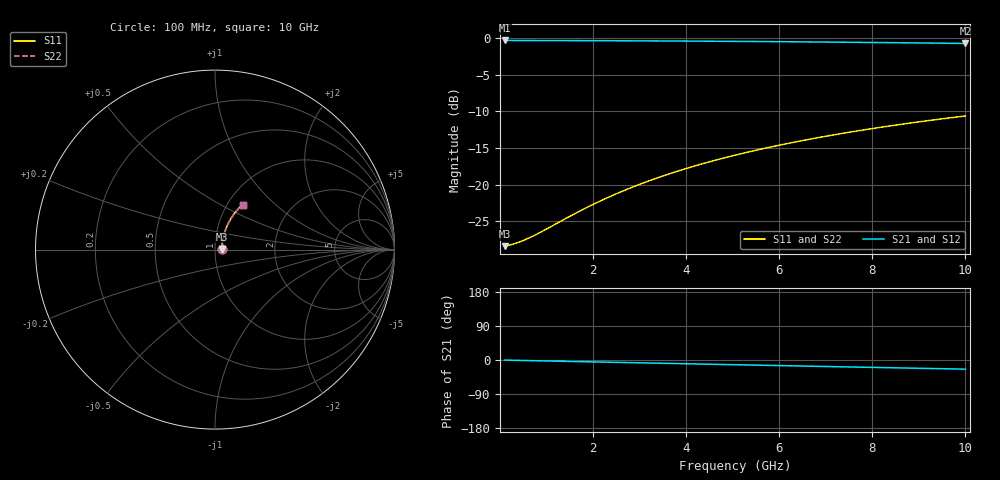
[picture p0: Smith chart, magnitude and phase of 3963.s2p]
# Hz S RI R 50.00
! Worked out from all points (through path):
!   100 points, 100 MHz to 10 GHz, reference 50 ohm
!   highest |S21| = -0.33 dB at 100 MHz (marker M1); lowest = -0.7 dB at 10 GHz (marker M2)
!   group delay of S21, straight-line fit = 6.72 ps
!   lowest |S11| = -28.4 dB at 100 MHz (marker M3), VSWR 1.08, Z = 53.9 + j0.316 ohm
!   |S11| at or under -10 dB: start of sweep to end of sweep
!   |S22| runs from -28.4 to -10.6 dB; largest |S21 - S12| = 0
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1e8  0.0378 0.00293  0.9622 -0.00417  0.9622 -0.00417  0.0378 0.00293
3e8  0.0383 0.00878  0.9616 -0.0125  0.9616 -0.0125  0.0383 0.00878
4e8  0.0386 0.0117  0.9614 -0.0167  0.9614 -0.0167  0.0386 0.0117
6e8  0.0391 0.0175  0.9609 -0.025  0.9609 -0.025  0.0391 0.0175
9e8  0.0399 0.0263  0.96 -0.0375  0.96 -0.0375  0.0399 0.0263
1.5e9  0.0421 0.0436  0.9577 -0.0623  0.9577 -0.0623  0.0421 0.0436
1.8e9  0.0435 0.0523  0.9563 -0.0746  0.9563 -0.0746  0.0435 0.0523
2.2e9  0.0457 0.0637  0.9539 -0.0911  0.9539 -0.0911  0.0457 0.0637
2.6e9  0.0482 0.075  0.9512 -0.1074  0.9512 -0.1074  0.0482 0.075
3e9  0.0511 0.0862  0.9481 -0.1236  0.9481 -0.1236  0.0511 0.0862
3.4e9  0.0544 0.0973  0.9446 -0.1396  0.9446 -0.1396  0.0544 0.0973
3.8e9  0.0581 0.1082  0.9408 -0.1556  0.9408 -0.1556  0.0581 0.1082
4.2e9  0.0621 0.119  0.9365 -0.1713  0.9365 -0.1713  0.0621 0.119
4.6e9  0.0664 0.1296  0.9318 -0.1869  0.9318 -0.1869  0.0664 0.1296
5.1e9  0.0724 0.1426  0.9255 -0.2062  0.9255 -0.2062  0.0724 0.1426
5.5e9  0.0775 0.1528  0.9201 -0.2214  0.9201 -0.2214  0.0775 0.1528
5.9e9  0.0829 0.1627  0.9143 -0.2363  0.9143 -0.2363  0.0829 0.1627
6.7e9  0.0947 0.1819  0.9017 -0.2656  0.9017 -0.2656  0.0947 0.1819
7.5e9  0.1076 0.2001  0.8879 -0.2938  0.8879 -0.2938  0.1076 0.2001
8.4e9  0.1233 0.2194  0.8709 -0.3244  0.8709 -0.3244  0.1233 0.2194
9.2e9  0.1383 0.2353  0.8548 -0.3504  0.8548 -0.3504  0.1383 0.2353
1e10  0.1542 0.25  0.8377 -0.3752  0.8377 -0.3752  0.1542 0.25
